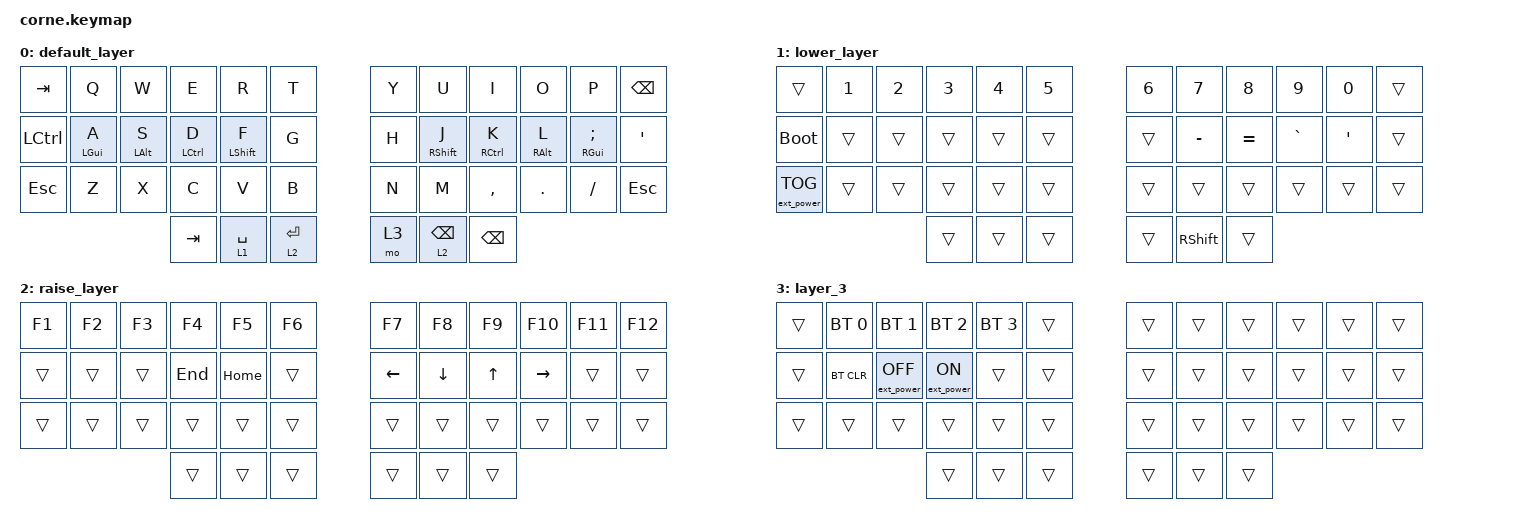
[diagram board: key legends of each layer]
/*
 * Copyright (c) 2020 The ZMK Contributors
 *
 * SPDX-License-Identifier: MIT
 */

#include <behaviors.dtsi>
#include <dt-bindings/zmk/bt.h>
#include <dt-bindings/zmk/keys.h>
#include <dt-bindings/zmk/rgb.h>
#include <dt-bindings/zmk/ext_power.h>
/ {
    behaviors {
        hm: homerow_mods {
            compatible = "zmk,behavior-hold-tap";
            label = "HOMEROW_MODS";
            #binding-cells = <2>;
            tapping-term-ms = <200>;
            quick_tap_ms = <0>;
            flavor = "tap-preferred";
            bindings = <&kp>, <&kp>;

            quick-tap-ms = <180>;
            global-quick-tap;
        };

        ltq: ltq {
            compatible = "zmk,behavior-hold-tap";
            label = "LTQ";
            bindings = <&mo>, <&kp>;

            #binding-cells = <2>;
            tapping-term-ms = <600>;
            global-quick-tap;
            quick-tap-ms = <400>;
        };
    };

    combos {
        compatible = "zmk,combos";

        left_bkt {
            bindings = <&kp LEFT_BRACKET>;
            key-positions = <4 3>;
            timeout-ms = <50>;
        };

        right_bkt {
            bindings = <&kp RBKT>;
            key-positions = <7 8>;
            timeout-ms = <50>;
        };

        left_par {
            bindings = <&kp LEFT_PARENTHESIS>;
            key-positions = <15 16>;
            timeout-ms = <50>;
        };

        right_par {
            bindings = <&kp RIGHT_PARENTHESIS>;
            key-positions = <19 20>;
            timeout-ms = <50>;
        };

        left_brace {
            bindings = <&kp LEFT_BRACE>;
            key-positions = <27 28>;
            timeout-ms = <50>;
        };

        right_brace {
            bindings = <&kp RIGHT_BRACE>;
            key-positions = <32 31>;
            timeout-ms = <50>;
        };

        bac {
            bindings = <&kp BACKSLASH>;
            key-positions = <5 6>;
        };

        pipe {
            bindings = <&kp PIPE>;
            key-positions = <17 18>;
        };
    };

    keymap {
        compatible = "zmk,keymap";

        default_layer {
            bindings = <
&kp TAB    &kp Q           &kp W           &kp E        &kp R             &kp T                  &kp Y  &kp U             &kp I          &kp O            &kp P               &kp BSPC
&kp LCTRL  &hm LEFT_GUI A  &hm LEFT_ALT S  &hm LCTRL D  &hm LEFT_SHIFT F  &kp G                  &kp H  &hm RSHIFT J      &hm RCTRL K    &hm RIGHT_ALT L  &hm RGUI SEMICOLON  &kp SQT
&kp ESC    &kp Z           &kp X           &kp C        &kp V             &kp B                  &kp N  &kp M             &kp COMMA      &kp DOT          &kp FSLH            &kp ESC
                                           &kp TAB      &lt 1 SPACE       &lt 2 ENTER            &mo 3  &ltq 2 BACKSPACE  &kp BACKSPACE
            >;
        };

        lower_layer {
            bindings = <
&trans              &kp N1  &kp N2   &kp N3  &kp N4  &kp N5         &kp N6  &kp N7           &kp N8     &kp N9     &kp N0   &trans
&bootloader         &trans  &trans  &trans  &trans   &trans         &trans  &kp MINUS        &kp EQUAL  &kp GRAVE  &kp SQT  &trans  
&ext_power EP_TOG   &trans  &trans  &trans  &trans   &trans         &trans  &trans           &trans     &trans     &trans   &trans
                                    &trans  &trans   &trans         &trans  &kp RIGHT_SHIFT  &trans
            >;
        };

        raise_layer {
            bindings = <
&kp F1  &kp F2  &kp F3  &kp F4   &kp F5    &kp F6           &kp F7    &kp F8    &kp F9    &kp F10    &kp F11  &kp F12
&trans  &trans  &trans  &kp END  &kp HOME  &trans           &kp LEFT  &kp DOWN  &kp UP    &kp RIGHT  &trans   &trans
&trans  &trans  &trans  &trans   &trans    &trans           &trans    &trans    &trans    &trans     &trans   &trans
                        &trans   &trans    &trans           &trans    &trans    &trans
            >;
        };

        layer_3 {
            bindings = <
&trans  &bt BT_SEL 0  &bt BT_SEL 1      &bt BT_SEL 2        &bt BT_SEL 3  &trans      &trans  &trans  &trans  &trans  &trans  &trans
&trans  &bt BT_CLR    &ext_power EP_OFF &ext_power EP_ON    &trans        &trans      &trans  &trans  &trans  &trans  &trans  &trans
&trans  &trans        &trans            &trans              &trans        &trans      &trans  &trans  &trans  &trans  &trans  &trans
                                        &trans              &trans        &trans      &trans  &trans  &trans
            >;
        };
        extra1 {
            status = "reserved";
        };
        extra2 {
            status = "reserved";
        };
        extra3 {
            status = "reserved";
        };
        extra4 {
            status = "reserved";
        };

    };
};
